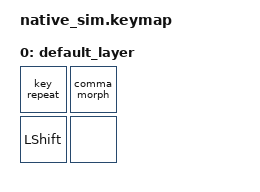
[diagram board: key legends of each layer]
#include <dt-bindings/zmk/keys.h>
#include <behaviors.dtsi>
#include <dt-bindings/zmk/kscan_mock.h>

/ {
    behaviors {
        comma_morph: comma_morph {
            compatible = "zmk,behavior-mod-morph";
            #binding-cells = <0>;
            bindings = <&kp COMMA>, <&kp SEMICOLON>;
            mods = <(MOD_LSFT|MOD_RSFT)>;
        };
    };

    keymap {
        compatible = "zmk,keymap";

        default_layer {
            bindings = <
                &key_repeat &comma_morph
                &kp LEFT_SHIFT &none
            >;
        };
    };
};

&kscan {
    events = <
        ZMK_MOCK_PRESS(1,0,10)
        ZMK_MOCK_PRESS(0,1,10)
        ZMK_MOCK_RELEASE(0,1,10)
        ZMK_MOCK_RELEASE(1,0,10)
        ZMK_MOCK_PRESS(0,0,10)
        ZMK_MOCK_RELEASE(0,0,10)
    >;
};
